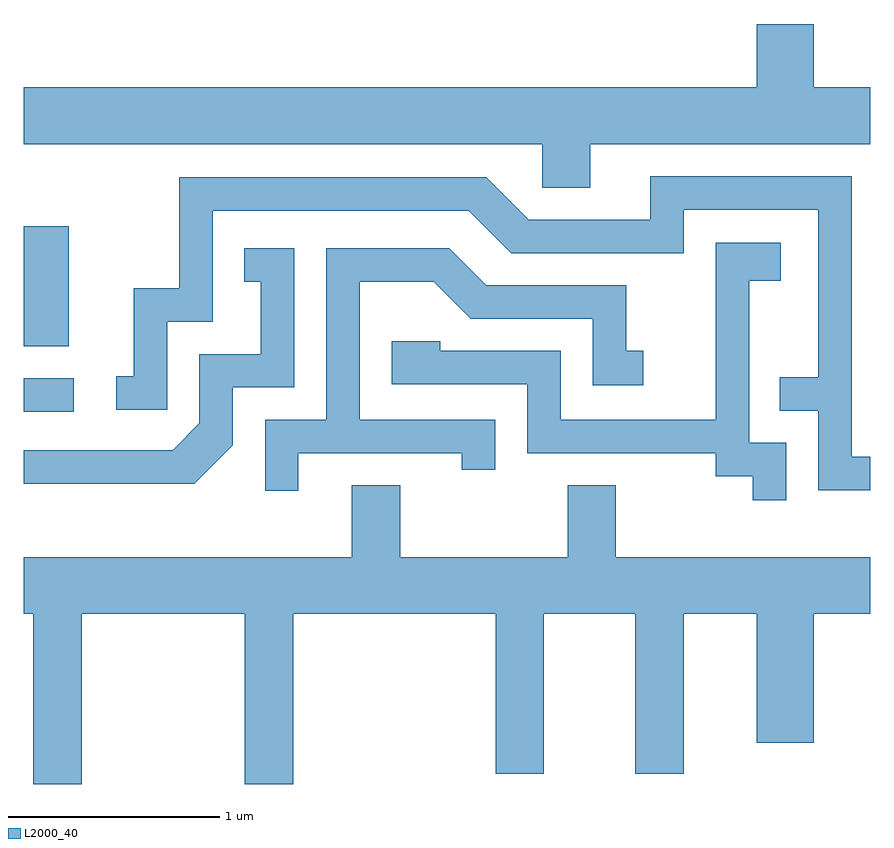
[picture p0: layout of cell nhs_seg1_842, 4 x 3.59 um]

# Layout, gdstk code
import gdstk
lib = gdstk.Library(unit=1e-6, precision=1e-09)
def R(c, l, rs):  # rectangles x0, y0, x1, y1
    for r in rs: c.add(gdstk.rectangle(r[:2], r[2:], *l))
def P(c, l, *ps):  # polygons
    for p in ps: c.add(gdstk.Polygon(p, *l))
L2000_40 = (2000, 40)

nhs_seg1_842 = lib.new_cell('nhs_seg1_842')
R(nhs_seg1_842, L2000_40, [(211.611,849.471,211.848,849.629), (211.611,849.781,211.824,850.349)])
P(nhs_seg1_842, L2000_40, [(214.289,850.736),(215.611,850.736),(215.611,851.004),(215.344,851.004),(215.344,851.304),(215.076,851.304),(215.076,851.004),(211.611,851.004),(211.611,850.736),(214.061,850.736),(214.061,850.531),(214.289,850.531)],
  [(215.611,849.259),(215.524,849.259),(215.524,850.584),(214.571,850.584),(214.571,850.379),(213.997,850.379),(213.797,850.579),(212.346,850.579),(212.346,850.054),(212.131,850.054),(212.131,849.639),(212.048,849.639),(212.048,849.481),(212.289,849.481),(212.289,849.896),(212.504,849.896),(212.504,850.421),(213.714,850.421),(213.914,850.221),(214.729,850.221),(214.729,850.426),(215.366,850.426),(215.366,849.634),(215.183,849.634),(215.183,849.476),(215.366,849.476),(215.366,849.101),(215.611,849.101)],
  [(215.214,849.324),(215.039,849.324),(215.039,850.091),(215.189,850.091),(215.189,850.269),(214.881,850.269),(214.881,849.434),(214.149,849.434),(214.149,849.759),(213.579,849.759),(213.579,849.804),(213.351,849.804),(213.351,849.601),(213.991,849.601),(213.991,849.276),(214.881,849.276),(214.881,849.166),(215.056,849.166),(215.056,849.053),(215.214,849.053)],
  [(212.909,849.276),(213.681,849.276),(213.681,849.198),(213.839,849.198),(213.839,849.434),(213.199,849.434),(213.199,850.086),(213.549,850.086),(213.724,849.911),(214.301,849.911),(214.301,849.596),(214.538,849.596),(214.538,849.759),(214.459,849.759),(214.459,850.069),(213.797,850.069),(213.622,850.244),(213.041,850.244),(213.041,849.434),(212.751,849.434),(212.751,849.098),(212.909,849.098)],
  [(212.599,849.314),(212.599,849.586),(212.889,849.586),(212.889,850.244),(212.653,850.244),(212.653,850.086),(212.731,850.086),(212.731,849.744),(212.441,849.744),(212.441,849.417),(212.314,849.289),(211.611,849.289),(211.611,849.131),(212.417,849.131)],
  [(213.841,847.761),(214.069,847.761),(214.069,848.516),(214.501,848.516),(214.501,847.761),(214.729,847.761),(214.729,848.516),(215.076,848.516),(215.076,847.906),(215.344,847.906),(215.344,848.516),(215.611,848.516),(215.611,848.784),(214.409,848.784),(214.409,849.124),(214.181,849.124),(214.181,848.784),(213.389,848.784),(213.389,849.124),(213.161,849.124),(213.161,848.784),(211.611,848.784),(211.611,848.516),(211.656,848.516),(211.656,847.712),(211.884,847.712),(211.884,848.516),(212.656,848.516),(212.656,847.712),(212.884,847.712),(212.884,848.516),(213.841,848.516)])

lib.write_gds('nhs_seg1_842.gds')
